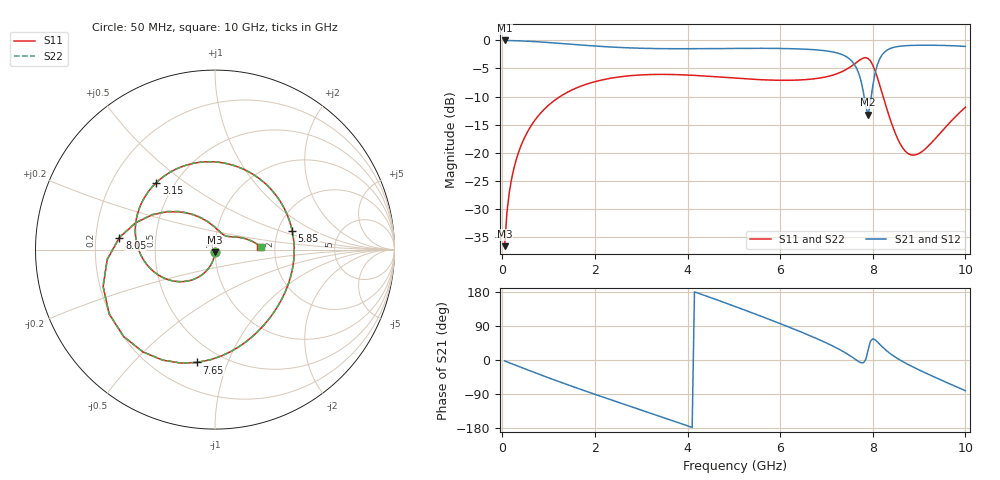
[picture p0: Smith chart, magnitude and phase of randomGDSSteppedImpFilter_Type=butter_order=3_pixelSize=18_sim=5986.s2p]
! freq	dB(S11)	phase(S11)	dB(S12)	phase(S12)
!  dB(S21)	phase(S21)	dB(S22)	phase(S22)
!S-par simulation data
#  GHz  S  DB  R 50
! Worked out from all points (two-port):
!   200 points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, 50 MHz to 10 GHz, reference 50 ohm
!   highest |S21| = 0.00 dB at 50 MHz (marker M1); lowest = -13.2 dB at 7.9 GHz (marker M2)
!   |S21| within 3 dB of the highest: start of sweep to 7.45 GHz; 8.17 GHz to end of sweep
!   lowest |S11| = -36.7 dB at 50 MHz (marker M3), VSWR 1.03, Z = 49.9 - j1.46 ohm
!   |S11| at or under -10 dB: start of sweep to 1.247 GHz; 8.224 GHz to end of sweep
!   |S22| runs from -36.7 to -3.1 dB; largest |S21 - S12| = 0
!   S11 on the Smith chart (normalised r, x): 50 MHz: 1.00, -0.03; 3.15 GHz: 0.40, +0.39; 5.85 GHz: 2.39, +0.63; 7.65 GHz: 0.37, -0.78; 8.05 GHz: 0.30, +0.06; 10 GHz: 1.68, +0.06
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0.05  -36.66 -92.4  -0.00 -2.4  -0.00 -2.4  -36.66 -92.4
0.1  -30.67 -94.9  -0.01 -4.8  -0.01 -4.8  -30.67 -95.0
0.2  -24.71 -99.9  -0.03 -9.6  -0.03 -9.6  -24.71 -99.9
0.5  -16.99 -114.4  -0.12 -23.8  -0.12 -23.8  -16.99 -114.4
1.15  -10.55 -144.4  -0.47 -53.7  -0.47 -53.7  -10.55 -144.4
1.75  -7.99 -170.7  -0.85 -80.0  -0.85 -80.0  -7.99 -170.7
3.15  -6.09 131.2  -1.43 -138.1  -1.43 -138.1  -6.09 131.2
3.4  -6.05 120.8  -1.46 -148.5  -1.46 -148.5  -6.05 120.9
4.25  -6.28 85.0  -1.47 175.5  -1.47 175.5  -6.28 85.1
5.05  -6.74 50.1  -1.42 140.2  -1.42 140.2  -6.74 50.2
5.85  -7.08 13.8  -1.42 103.2  -1.42 103.2  -7.08 14.0
6.7  -6.87 -27.6  -1.63 61.2  -1.63 61.2  -6.87 -27.5
7.3  -5.69 -63.9  -2.41 26.5  -2.41 26.5  -5.70 -63.9
7.65  -3.92 -99.1  -4.95 -0.4  -4.95 -0.4  -3.92 -99.1
7.8  -3.13 -125.1  -9.32 -7.2  -9.32 -7.2  -3.13 -125.3
7.9  -3.22 -148.7  -13.24 26.7  -13.24 26.7  -3.23 -148.9
8.05  -5.41 172.9  -5.85 53.4  -5.85 53.4  -5.41 172.5
8.35  -13.40 118.8  -1.54 19.4  -1.54 19.4  -13.39 118.2
8.65  -19.20 81.4  -0.98 -4.3  -0.98 -4.3  -19.17 80.6
8.9  -20.43 57.2  -0.87 -20.3  -0.87 -20.3  -20.39 56.5
9.45  -16.58 27.6  -0.88 -51.5  -0.88 -51.5  -16.56 27.4
10  -11.91 3.8  -1.07 -80.9  -1.07 -80.9  -11.90 3.7
